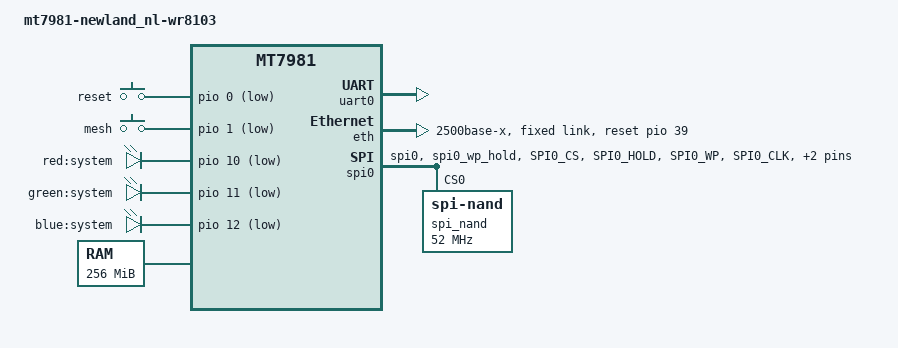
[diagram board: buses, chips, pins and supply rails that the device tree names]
// SPDX-License-Identifier: GPL-2.0

/dts-v1/;
#include "mt7981.dtsi"
#include <dt-bindings/gpio/gpio.h>

/ {
	#address-cells = <1>;
	#size-cells = <1>;
	model = "mt7981-newland_nl-wr8103";
	compatible = "mediatek,mt7981", "mediatek,mt7981-rfb";

	chosen {
		stdout-path = &uart0;
		tick-timer = &timer0;
	};

	config {
		bootcmd = "mtkboardboot";
		blink_led = "red:system";
		system_led = "green:system";
	};

	mtd-layout {
		layout@0 {
			label = "default";
			// mtd layout for stock 48m ubi firmware
			mtdids = "nmbm0=nmbm0";
			mtdparts = "nmbm0:1024k(bl2),512k(u-boot-env),2048k(factory),2048k(fip),49152k(ubi),49152k(ubi1)";
		};

		layout@1 {
			label = "expand(114m)";
			// mtd layout for 114m ubi firmware
			mtdids = "nmbm0=nmbm0";
			mtdparts = "nmbm0:1024k(bl2),512k(u-boot-env),2048k(factory),2048k(fip),116736k(ubi)";
		};

	};

	gpio-keys {
		compatible = "gpio-keys";

		reset-button {
			label = "reset";
			linux,code = <KEY_RESTART>;
			gpios = <&pio 0 GPIO_ACTIVE_LOW>;
		};

		mesh-button {
			label = "mesh";
			linux,code = <BTN_9>;
			gpios = <&pio 1 GPIO_ACTIVE_LOW>;
		};
	};

	leds {
		compatible = "gpio-leds";

		led-0 {
			label = "red:system";
			gpios = <&pio 10 GPIO_ACTIVE_LOW>;
		};

		led-1 {
			label = "green:system";
			gpios = <&pio 11 GPIO_ACTIVE_LOW>;
		};

		led-2 {
			label = "blue:system";
			gpios = <&pio 12 GPIO_ACTIVE_LOW>;
		};
	};
	memory@40000000 {
		device_type = "memory";
		reg = <0x40000000 0x10000000>;
	};

	bl2_verify {
		bl2_compatible = "spim-nand";
	};
};

&uart0 {
	status = "okay";
};

&eth {
	status = "okay";
	mediatek,gmac-id = <0>;
	phy-mode = "2500base-x";
	mediatek,switch = "auto";
	reset-gpios = <&pio 39 GPIO_ACTIVE_HIGH>;

	fixed-link {
		speed = <2500>;
		full-duplex;
	};
};

&pio {
	spi_flash_pins: spi0-pins-func-1 {
		mux {
			function = "flash";
			groups = "spi0", "spi0_wp_hold";
		};

		conf-pu {
			pins = "SPI0_CS", "SPI0_HOLD", "SPI0_WP";
			drive-strength = <MTK_DRIVE_4mA>;
			bias-pull-up = <MTK_PUPD_SET_R1R0_11>;
		};

		conf-pd {
			pins = "SPI0_CLK", "SPI0_MOSI", "SPI0_MISO";
			drive-strength = <MTK_DRIVE_4mA>;
			bias-pull-down = <MTK_PUPD_SET_R1R0_11>;
		};
	};
};

&spi0 {
	#address-cells = <1>;
	#size-cells = <0>;
	pinctrl-names = "default";
	pinctrl-0 = <&spi_flash_pins>;
	status = "okay";
	must_tx;
	enhance_timing;
	dma_ext;
	ipm_design;
	support_quad;
	tick_dly = <2>;
	sample_sel = <0>;

	spi_nand@0 {
		compatible = "spi-nand";
		reg = <0>;
		spi-max-frequency = <52000000>;
	};
};

&watchdog {
	status = "disabled";
};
